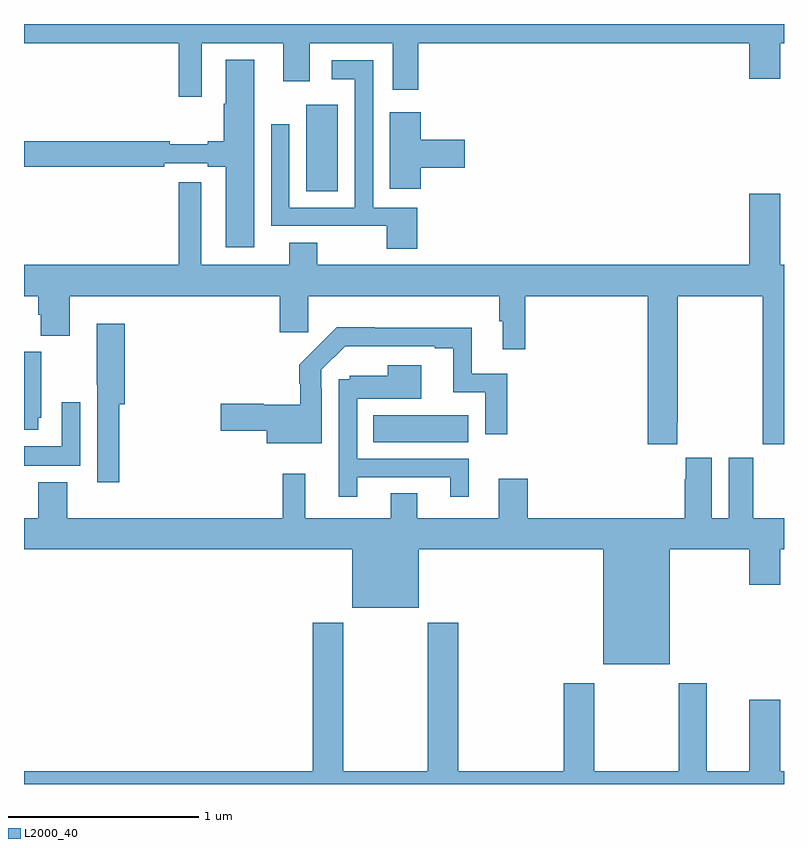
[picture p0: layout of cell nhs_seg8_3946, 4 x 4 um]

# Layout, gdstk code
import gdstk
lib = gdstk.Library(unit=1e-6, precision=1e-09)
def R(c, l, rs):  # rectangles x0, y0, x1, y1
    for r in rs: c.add(gdstk.rectangle(r[:2], r[2:], *l))
def P(c, l, *ps):  # polygons
    for p in ps: c.add(gdstk.Polygon(p, *l))
L2000_40 = (2000, 40)

nhs_seg8_3946 = lib.new_cell('nhs_seg8_3946')
R(nhs_seg8_3946, L2000_40, [(354.838,1147.7,355.339,1147.84), (354.485,1149.019,354.652,1149.475)])
P(nhs_seg8_3946, L2000_40, [(353.935,1149.8),(354.365,1149.8),(354.365,1149.6),(354.505,1149.6),(354.505,1149.8),(354.941,1149.8),(354.941,1149.555),(355.076,1149.555),(355.076,1149.8),(356.816,1149.8),(356.816,1149.612),(356.98,1149.612),(356.98,1149.8),(357,1149.8),(357,1149.9),(353,1149.9),(353,1149.8),(353.814,1149.8),(353.814,1149.516),(353.935,1149.516)],
  [(354.211,1149.712),(354.062,1149.712),(354.062,1149.48),(354.05,1149.48),(354.05,1149.284),(353.966,1149.284),(353.966,1149.267),(353.766,1149.267),(353.766,1149.284),(353,1149.284),(353,1149.148),(353.738,1149.148),(353.738,1149.168),(353.966,1149.168),(353.966,1149.148),(354.062,1149.148),(354.062,1148.724),(354.211,1148.724)],
  [(355.07,1148.934),(354.837,1148.934),(354.837,1149.709),(354.621,1149.709),(354.621,1149.608),(354.741,1149.608),(354.741,1148.934),(354.396,1148.934),(354.396,1149.373),(354.3,1149.373),(354.3,1148.838),(354.644,1148.838),(354.644,1148.837),(354.91,1148.837),(354.91,1148.718),(355.07,1148.718)],
  [(355.088,1149.143),(355.321,1149.143),(355.321,1149.29),(355.088,1149.29),(355.088,1149.436),(354.926,1149.436),(354.926,1149.033),(355.088,1149.033)],
  [(356.816,1149.007),(356.816,1148.632),(354.543,1148.632),(354.543,1148.749),(354.395,1148.749),(354.395,1148.632),(353.932,1148.632),(353.932,1149.067),(353.815,1149.067),(353.815,1148.632),(353,1148.632),(353,1148.468),(353.075,1148.468),(353.075,1148.369),(353.087,1148.369),(353.087,1148.26),(353.24,1148.26),(353.24,1148.468),(354.347,1148.468),(354.347,1148.277),(354.497,1148.277),(354.497,1148.468),(355.501,1148.468),(355.501,1148.336),(355.52,1148.336),(355.52,1148.187),(355.637,1148.187),(355.637,1148.468),(356.282,1148.468),(356.282,1147.689),(356.437,1147.689),(356.437,1147.801),(356.442,1147.801),(356.442,1148.468),(356.887,1148.468),(356.887,1147.689),(357,1147.689),(357,1148.632),(356.98,1148.632),(356.98,1149.007)],
  [(353.501,1147.898),(353.531,1147.898),(353.531,1148.323),(353.384,1148.323),(353.384,1148.002),(353.385,1148.002),(353.385,1147.488),(353.501,1147.488)],
  [(354.567,1147.979),(354.564,1147.979),(354.564,1148.079),(354.69,1148.205),(355.163,1148.205),(355.163,1148.193),(355.259,1148.193),(355.259,1147.962),(355.428,1147.962),(355.428,1147.74),(355.544,1147.74),(355.544,1148.058),(355.357,1148.058),(355.357,1148.302),(354.845,1148.302),(354.845,1148.305),(354.646,1148.305),(354.449,1148.107),(354.449,1148.006),(354.455,1148.006),(354.455,1147.896),(354.261,1147.896),(354.261,1147.901),(354.036,1147.901),(354.036,1147.759),(354.278,1147.759),(354.278,1147.694),(354.567,1147.694)],
  [(353.074,1147.827),(353.092,1147.827),(353.092,1148.175),(353,1148.175),(353,1147.764),(353.074,1147.764)],
  [(354.754,1147.515),(355.244,1147.515),(355.244,1147.413),(355.342,1147.413),(355.342,1147.611),(354.753,1147.611),(354.753,1147.928),(355.09,1147.928),(355.09,1148.104),(354.914,1148.104),(354.914,1148.05),(354.714,1148.05),(354.714,1148.031),(354.657,1148.031),(354.657,1147.413),(354.754,1147.413)],
  [(353.295,1147.909),(353.199,1147.909),(353.199,1147.678),(353,1147.678),(353,1147.574),(353.295,1147.574)],
  [(356.398,1147.136),(356.816,1147.136),(356.816,1146.948),(356.98,1146.948),(356.98,1147.136),(357,1147.136),(357,1147.3),(356.839,1147.3),(356.839,1147.618),(356.708,1147.618),(356.708,1147.3),(356.62,1147.3),(356.62,1147.618),(356.483,1147.618),(356.483,1147.505),(356.477,1147.505),(356.477,1147.3),(355.652,1147.3),(355.652,1147.507),(355.499,1147.507),(355.499,1147.3),(355.069,1147.3),(355.069,1147.43),(354.929,1147.43),(354.929,1147.3),(354.479,1147.3),(354.479,1147.534),(354.361,1147.534),(354.361,1147.3),(353.227,1147.3),(353.227,1147.489),(353.075,1147.489),(353.075,1147.3),(353,1147.3),(353,1147.136),(354.728,1147.136),(354.728,1146.827),(355.078,1146.827),(355.078,1147.136),(356.048,1147.136),(356.048,1146.53),(356.398,1146.53)],
  [(357,1145.968),(356.98,1145.968),(356.98,1146.343),(356.816,1146.343),(356.816,1145.968),(356.593,1145.968),(356.593,1146.43),(356.446,1146.43),(356.446,1145.968),(356.001,1145.968),(356.001,1146.43),(355.841,1146.43),(355.841,1145.968),(355.286,1145.968),(355.286,1146.748),(355.126,1146.748),(355.126,1145.968),(354.681,1145.968),(354.681,1146.748),(354.521,1146.748),(354.521,1145.968),(353,1145.968),(353,1145.9),(357,1145.9)])

lib.write_gds('nhs_seg8_3946.gds')
